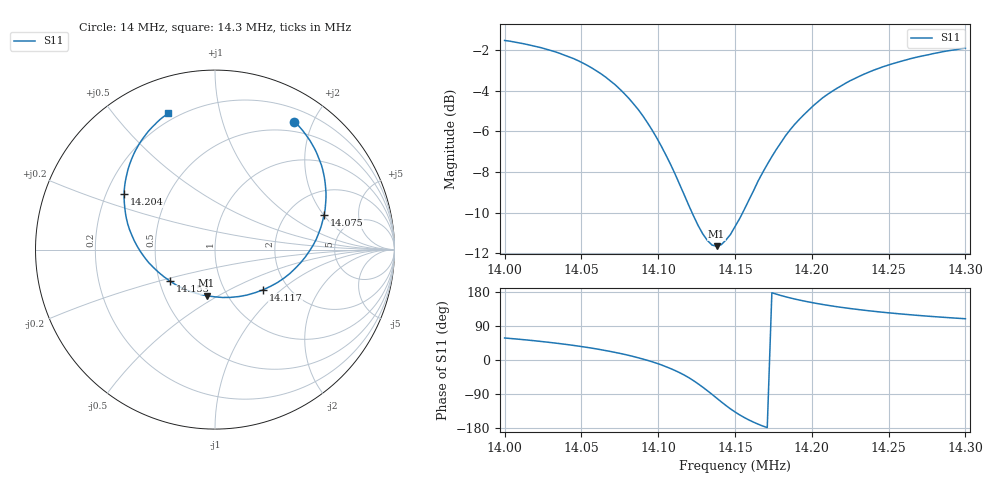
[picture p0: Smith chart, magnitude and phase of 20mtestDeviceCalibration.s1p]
# HZ S RI R 50
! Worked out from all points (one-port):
!   101 points, 14 MHz to 14.3 MHz, reference 50 ohm
!   lowest |S11| = -11.7 dB at 14.138 MHz (marker M1), VSWR 1.71, Z = 40.1 - j22.1 ohm
!   |S11| at or under -10 dB: 14.12202 MHz to 14.15504 MHz (33.02 kHz wide, 0.234 % of centre)
!   S11 on the Smith chart (normalised r, x): 14 MHz: 0.36, +1.74; 14.075 MHz: 3.11, +2.01; 14.117 MHz: 1.50, -0.76; 14.153 MHz: 0.57, -0.22; 14.204 MHz: 0.27, +0.26; 14.3 MHz: 0.16, +0.70
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1.4e7  0.4429 0.7127
1.4021e7  0.5192 0.6215
1.4039e7  0.5765 0.513
1.4048e7  0.5997 0.4467
1.406e7  0.6165 0.343
1.4075e7  0.6073 0.1916
1.4087e7  0.5642 0.0578
1.4096e7  0.5035 -0.0406
1.4105e7  0.4176 -0.1329
1.4114e7  0.3088 -0.2049
1.4117e7  0.2681 -0.2239
1.4123e7  0.1798 -0.2529
1.4129e7  0.0881 -0.266
1.4135e7  -0.00217 -0.263
1.4138e7  -0.0472 -0.2571
1.4144e7  -0.1341 -0.2348
1.415e7  -0.2138 -0.1989
1.4153e7  -0.2496 -0.1761
1.4165e7  -0.3712 -0.0706
1.4171e7  -0.4152 -0.0113
1.418e7  -0.4637 0.0808
1.4189e7  -0.4932 0.1716
1.4204e7  -0.5062 0.3082
1.4225e7  -0.4787 0.4657
1.4246e7  -0.4253 0.5834
1.4264e7  -0.3717 0.6587
1.4279e7  -0.3246 0.708
1.43e7  -0.2599 0.7604
